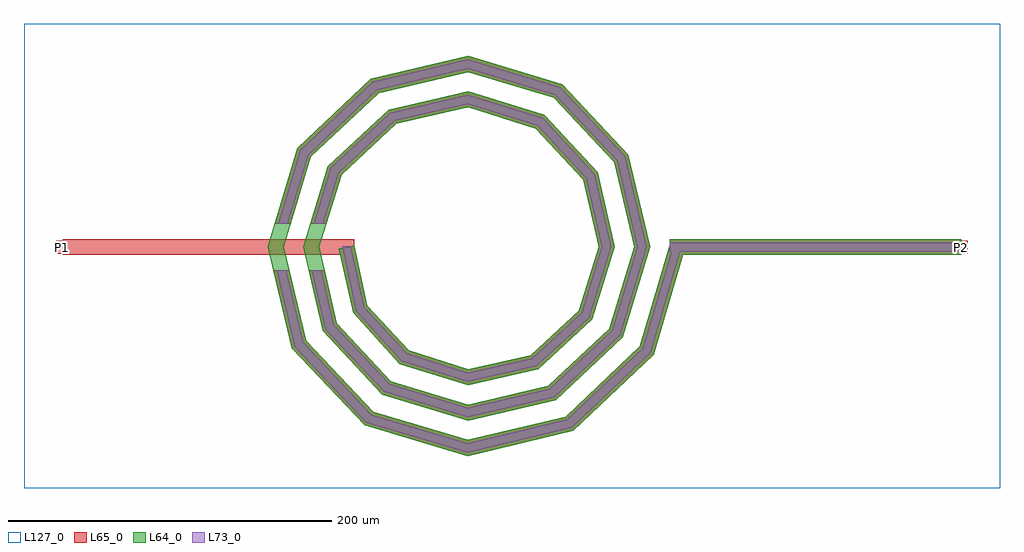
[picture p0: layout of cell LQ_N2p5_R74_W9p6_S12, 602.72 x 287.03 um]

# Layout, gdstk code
import gdstk
lib = gdstk.Library(unit=1e-6, precision=1e-09)
def R(c, l, rs):  # rectangles x0, y0, x1, y1
    for r in rs: c.add(gdstk.rectangle(r[:2], r[2:], *l))
def P(c, l, *ps):  # polygons
    for p in ps: c.add(gdstk.Polygon(p, *l))
L64_0 = (64, 0)
L65_0 = (65, 0)
L73_0 = (73, 0)
L127_0 = (127, 0)

lq_n2p5_r74_w9p6_s12 = lib.new_cell('LQ_N2p5_R74_W9p6_S12')
R(lq_n2p5_r74_w9p6_s12, L64_0, [(124.669,-4.8,304.669,4.8)])
P(lq_n2p5_r74_w9p6_s12, L64_0, [(-61.988,-36.043),(-36.576,-63.782),(0.21,-75.346),(38.761,-66.725),(68.505,-39.319),(80.807,0.197),(71.461,41.481),(42.061,73.229),(0.185,86.269),(-44.202,76.197),(-77.953,44.801),(-91.731,0.175),(-80.932,-46.924),(-47.54,-82.678),(0.165,-97.192),(49.647,-85.666),(87.404,-50.278),(102.654,0.157),(90.401,52.371),(53.016,92.13),(0.149,108.116),(-55.095,95.134),(-96.857,55.753),(-113.578,0.142),(-99.868,-57.821),(-58.49,-101.583),(0.136,-119.039),(60.546,-104.601),(106.311,-61.226),(124.867,1.364),(134.071,-1.364),(114.783,-66.423),(65.282,-113.339),(0.136,-128.975),(-63.697,-110.05),(-108.612,-62.545),(-123.513,0.142),(-105.316,60.971),(-59.808,103.885),(0.149,118.051),(58.246,100.582),(99.158,57.071),(112.588,0.157),(95.848,-55.522),(54.333,-94.432),(0.165,-107.126),(-52.798,-91.113),(-89.706,-51.594),(-101.664,0.175),(-86.378,50.076),(-48.854,84.981),(0.185,96.202),(47.354,81.642),(80.256,46.113),(90.739,0.197),(76.905,-44.633),(43.371,-75.531),(0.21,-85.277),(-41.914,-72.168),(-70.808,-40.627),(-79.537,-1.033),(-70.162,1.033)])
R(lq_n2p5_r74_w9p6_s12, L65_0, [(-250.049,-4.8,-70.049,4.8), (124.669,-4.8,304.669,4.8), (-254.049,-4,-246.049,4), (300.669,-4,308.669,4)])
P(lq_n2p5_r74_w9p6_s12, L65_0, [(-99.868,-57.821),(-58.49,-101.584),(0.136,-119.039),(60.546,-104.601),(106.311,-61.226),(124.867,1.364),(134.071,-1.364),(114.783,-66.423),(65.282,-113.339),(0.136,-128.975),(-63.697,-110.05),(-108.612,-62.545),(-120.056,-14.4),(-110.189,-14.4)],
  [(-80.932,-46.924),(-47.54,-82.678),(0.165,-97.192),(49.647,-85.666),(87.404,-50.279),(102.654,0.157),(90.401,52.371),(53.016,92.13),(0.149,108.116),(-55.095,95.134),(-96.857,55.753),(-109.227,14.4),(-119.248,14.4),(-105.316,60.971),(-59.808,103.885),(0.149,118.051),(58.246,100.582),(99.158,57.071),(112.588,0.157),(95.848,-55.522),(54.333,-94.432),(0.165,-107.126),(-52.798,-91.113),(-89.706,-51.594),(-98.297,-14.4),(-88.445,-14.4)],
  [(-36.577,-63.782),(0.21,-75.346),(38.761,-66.725),(68.505,-39.319),(80.807,0.197),(71.461,41.481),(42.061,73.229),(0.185,86.269),(-44.202,76.197),(-77.953,44.801),(-87.266,14.4),(-97.306,14.4),(-86.378,50.076),(-48.854,84.981),(0.185,96.202),(47.354,81.642),(80.256,46.113),(90.739,0.197),(76.905,-44.633),(43.371,-75.532),(0.21,-85.277),(-41.914,-72.168),(-70.808,-40.627),(-79.537,-1.033),(-70.162,1.033),(-61.988,-36.043)])
R(lq_n2p5_r74_w9p6_s12, L73_0, [(124.669,-2.8,304.669,2.8)])
P(lq_n2p5_r74_w9p6_s12, L73_0, [(-101.689,-58.805),(-59.575,-103.347),(0.079,-121.109),(61.533,-106.421),(108.076,-62.308),(126.785,0.796),(132.154,0.796),(113.018,-65.34),(64.295,-111.519),(0.079,-126.905),(-62.612,-108.286),(-106.79,-61.561),(-118,-14.4),(-112.244,-14.4)],
  [(-82.76,-47.897),(-48.636,-84.436),(0.096,-99.262),(50.623,-87.493),(89.163,-51.371),(104.724,0.092),(92.225,53.35),(54.106,93.891),(0.087,110.186),(-56.077,96.957),(-98.619,56.84),(-111.315,14.4),(-117.16,14.4),(-103.554,59.884),(-58.827,102.062),(0.087,115.981),(57.157,98.821),(97.334,56.092),(110.519,0.092),(94.089,-54.43),(53.357,-92.606),(0.096,-105.057),(-51.703,-89.356),(-87.878,-50.621),(-96.245,-14.4),(-90.497,-14.4)],
  [(-37.689,-65.529),(0.123,-77.415),(39.721,-68.56),(70.255,-40.426),(82.876,0.115),(73.294,42.446),(43.164,74.982),(0.108,88.338),(-45.171,78.027),(-79.708,45.9),(-89.358,14.4),(-95.215,14.4),(-84.623,48.977),(-47.885,83.151),(0.108,94.132),(46.251,79.889),(78.424,45.148),(88.67,0.115),(75.155,-43.526),(42.411,-73.697),(0.123,-83.208),(-40.802,-70.421),(-68.971,-39.672),(-77.584,0.603),(-72.115,0.603),(-63.826,-36.998)])
R(lq_n2p5_r74_w9p6_s12, L127_0, [(-274.049,-148.975,328.669,138.051)])
lq_n2p5_r74_w9p6_s12.add(gdstk.Label('P2', (304.669,0), layer=65, texttype=0))
lq_n2p5_r74_w9p6_s12.add(gdstk.Label('P1', (-250.049,0), layer=65, texttype=0))
lq_n2p5_r74_w9p6_s12.add(gdstk.Label('P2', (308.669,0), layer=145, texttype=0))
lq_n2p5_r74_w9p6_s12.add(gdstk.Label('P1', (-254.049,0), layer=145, texttype=0))

lib.write_gds('LQ_N2p5_R74_W9p6_S12.gds')
